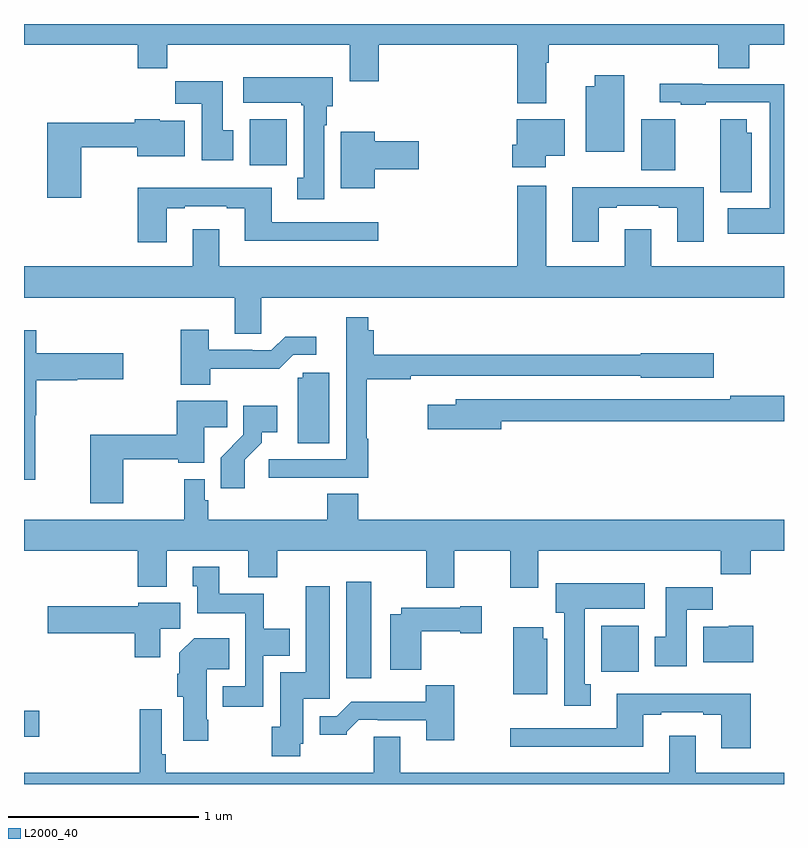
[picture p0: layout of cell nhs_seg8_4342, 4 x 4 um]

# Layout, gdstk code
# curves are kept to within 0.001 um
import gdstk
lib = gdstk.Library(unit=1e-6, precision=1e-09)
def R(c, l, rs):  # rectangles x0, y0, x1, y1
    for r in rs: c.add(gdstk.rectangle(r[:2], r[2:], *l))
def P(c, l, *ps):  # polygons
    for p in ps: c.add(gdstk.Polygon(p, *l))
L2000_40 = (2000, 40)

nhs_seg8_4342 = lib.new_cell('nhs_seg8_4342')
R(nhs_seg8_4342, L2000_40, [(375,1154.15,375.079,1154.285), (376.697,1154.457,376.828,1154.965), (378.038,1154.492,378.235,1154.734), (378.248,1157.129,378.427,1157.398), (376.187,1157.156,376.384,1157.398)])
P(nhs_seg8_4342, L2000_40, [(377.749,1157.696),(377.762,1157.696),(377.762,1157.792),(378.653,1157.792),(378.653,1157.668),(378.818,1157.668),(378.818,1157.792),(379,1157.792),(379,1157.9),(375,1157.9),(375,1157.792),(375.599,1157.792),(375.599,1157.668),(375.755,1157.668),(375.755,1157.792),(376.715,1157.792),(376.715,1157.598),(376.868,1157.598),(376.868,1157.792),(377.597,1157.792),(377.597,1157.483),(377.749,1157.483)],
  [(378.16,1157.629),(378.005,1157.629),(378.005,1157.572),(377.957,1157.572),(377.957,1157.228),(378.16,1157.228)],
  [(376.579,1157.366),(376.594,1157.366),(376.594,1157.466),(376.624,1157.466),(376.624,1157.62),(376.155,1157.62),(376.155,1157.486),(376.459,1157.486),(376.459,1157.473),(376.472,1157.473),(376.472,1157.09),(376.439,1157.09),(376.439,1156.977),(376.579,1156.977)],
  [(376.102,1157.34),(376.045,1157.34),(376.045,1157.599),(375.796,1157.599),(375.796,1157.48),(375.935,1157.48),(375.935,1157.184),(376.102,1157.184)],
  [(379,1157.583),(378.569,1157.583),(378.569,1157.585),(378.345,1157.585),(378.345,1157.487),(378.457,1157.487),(378.457,1157.475),(378.587,1157.475),(378.587,1157.487),(378.926,1157.487),(378.926,1156.93),(378.705,1156.93),(378.705,1156.796),(379,1156.796)],
  [(378.829,1157.328),(378.805,1157.328),(378.805,1157.398),(378.665,1157.398),(378.665,1157.015),(378.829,1157.015)],
  [(375.3,1157.251),(375.596,1157.251),(375.596,1157.204),(375.847,1157.204),(375.847,1157.392),(375.714,1157.392),(375.714,1157.398),(375.584,1157.398),(375.584,1157.38),(375.122,1157.38),(375.122,1156.986),(375.3,1156.986)],
  [(377.747,1157.207),(377.845,1157.207),(377.845,1157.398),(377.594,1157.398),(377.594,1157.265),(377.569,1157.265),(377.569,1157.147),(377.747,1157.147)],
  [(376.846,1157.135),(377.077,1157.135),(377.077,1157.282),(376.846,1157.282),(376.846,1157.332),(376.667,1157.332),(376.667,1157.036),(376.846,1157.036)],
  [(376.248,1156.46),(379,1156.46),(379,1156.624),(378.301,1156.624),(378.301,1156.819),(378.161,1156.819),(378.161,1156.624),(377.749,1156.624),(377.749,1157.05),(377.597,1157.05),(377.597,1156.624),(376.027,1156.624),(376.027,1156.819),(375.887,1156.819),(375.887,1156.624),(375,1156.624),(375,1156.46),(376.109,1156.46),(376.109,1156.27),(376.248,1156.27)],
  [(378.025,1156.932),(378.121,1156.932),(378.121,1156.944),(378.341,1156.944),(378.341,1156.932),(378.437,1156.932),(378.437,1156.755),(378.577,1156.755),(378.577,1157.04),(378.121,1157.04),(378.121,1157.042),(377.885,1157.042),(377.885,1156.755),(378.025,1156.755)],
  [(375.751,1156.929),(375.847,1156.929),(375.847,1156.941),(376.067,1156.941),(376.067,1156.929),(376.163,1156.929),(376.163,1156.76),(376.864,1156.76),(376.864,1156.857),(376.303,1156.857),(376.303,1157.038),(375.599,1157.038),(375.599,1156.752),(375.751,1156.752)],
  [(376.511,1155.513),(376.811,1155.513),(376.811,1155.716),(376.804,1155.716),(376.804,1156.03),(377.036,1156.03),(377.036,1156.05),(378.246,1156.05),(378.246,1156.037),(378.631,1156.037),(378.631,1156.167),(378.246,1156.167),(378.246,1156.159),(376.841,1156.159),(376.841,1156.288),(376.811,1156.288),(376.811,1156.357),(376.695,1156.357),(376.695,1155.609),(376.287,1155.609),(376.287,1155.511),(376.511,1155.511)],
  [(375.981,1156.086),(376.343,1156.085),(376.416,1156.158),(376.537,1156.158),(376.537,1156.255),(376.375,1156.255),(376.302,1156.182),(376.202,1156.182),(376.202,1156.185),(375.973,1156.185),(375.973,1156.291),(375.826,1156.291),(375.826,1156.001),(375.981,1156.001)],
  [(375.06,1155.841),(375.065,1155.841),(375.065,1156.025),(375.279,1156.025),(375.279,1156.03),(375.523,1156.03),(375.523,1156.167),(375.065,1156.167),(375.065,1156.288),(375,1156.288),(375,1155.501),(375.06,1155.501)],
  [(376.606,1156.065),(376.467,1156.065),(376.467,1156.038),(376.442,1156.038),(376.442,1155.694),(376.606,1155.694)],
  [(377.512,1155.808),(379,1155.808),(379,1155.944),(378.718,1155.944),(378.718,1155.924),(377.273,1155.924),(377.273,1155.895),(377.124,1155.895),(377.124,1155.766),(377.512,1155.766)],
  [(375.522,1155.609),(375.812,1155.609),(375.812,1155.59),(375.949,1155.59),(375.949,1155.778),(376.07,1155.778),(376.07,1155.916),(375.805,1155.916),(375.805,1155.737),(375.61,1155.737),(375.61,1155.738),(375.349,1155.738),(375.349,1155.378),(375.522,1155.378)],
  [(376.162,1155.607),(376.252,1155.697),(376.252,1155.752),(376.333,1155.752),(376.333,1155.892),(376.155,1155.892),(376.155,1155.737),(376.036,1155.618),(376.036,1155.456),(376.162,1155.456)],
  [(377.265,1155.128),(377.56,1155.128),(377.56,1154.934),(377.707,1154.934),(377.707,1155.128),(378.667,1155.128),(378.667,1155.004),(378.824,1155.004),(378.824,1155.128),(379,1155.128),(379,1155.292),(376.76,1155.292),(376.76,1155.428),(376.595,1155.428),(376.595,1155.292),(375.971,1155.292),(375.971,1155.393),(375.951,1155.393),(375.951,1155.505),(375.843,1155.505),(375.843,1155.292),(375,1155.292),(375,1155.128),(375.599,1155.128),(375.599,1154.939),(375.751,1154.939),(375.751,1155.128),(376.181,1155.128),(376.181,1154.987),(376.334,1154.987),(376.334,1155.128),(377.117,1155.128),(377.117,1154.934),(377.265,1154.934)],
  [(376.26,1154.576),(376.399,1154.576),(376.399,1154.716),(376.263,1154.716),(376.263,1154.902),(376.027,1154.902),(376.027,1155.043),(375.887,1155.043),(375.887,1154.94),(375.911,1154.94),(375.911,1154.798),(376.164,1154.798),(376.164,1154.415),(376.047,1154.415),(376.047,1154.307),(376.26,1154.307)],
  [(377.983,1154.426),(377.95,1154.426),(377.95,1154.822),(378.268,1154.822),(378.268,1154.956),(377.798,1154.956),(377.798,1154.802),(377.843,1154.802),(377.843,1154.313),(377.983,1154.313)],
  [(376.455,1154.112),(376.471,1154.112),(376.471,1154.349),(376.609,1154.349),(376.609,1154.941),(376.484,1154.941),(376.484,1154.488),(376.349,1154.488),(376.349,1154.202),(376.303,1154.202),(376.303,1154.046),(376.455,1154.046)],
  [(378.487,1154.816),(378.626,1154.816),(378.626,1154.935),(378.377,1154.935),(378.377,1154.676),(378.32,1154.676),(378.32,1154.52),(378.487,1154.52)],
  [(375.718,1154.716),(375.823,1154.716),(375.823,1154.854),(375.6,1154.854),(375.6,1154.835),(375.126,1154.835),(375.126,1154.693),(375.584,1154.693),(375.584,1154.568),(375.718,1154.568)],
  [(377.09,1154.705),(377.297,1154.705),(377.297,1154.693),(377.41,1154.693),(377.41,1154.835),(377.297,1154.835),(377.297,1154.827),(376.986,1154.827),(376.986,1154.794),(376.928,1154.794),(376.928,1154.501),(377.09,1154.501)],
  [(378.839,1154.734),(378.708,1154.734),(378.708,1154.728),(378.575,1154.728),(378.575,1154.54),(378.839,1154.54)],
  [(377.755,1154.664),(377.734,1154.664),(377.734,1154.725),(377.576,1154.725),(377.576,1154.372),(377.755,1154.372)],
  [(375.969,1154.239),(375.961,1154.239),(375.961,1154.504),(376.079,1154.504),(376.079,1154.668),(375.896,1154.668),(375.818,1154.59),(375.818,1154.48),(375.806,1154.48),(375.806,1154.358),(375.839,1154.358),(375.839,1154.127),(375.969,1154.127)],
  [(377.265,1154.419),(377.115,1154.419),(377.115,1154.332),(376.723,1154.332),(376.647,1154.256),(376.556,1154.256),(376.556,1154.159),(376.698,1154.159),(376.698,1154.174),(376.762,1154.238),(376.861,1154.238),(376.861,1154.235),(377.117,1154.235),(377.117,1154.13),(377.265,1154.13)],
  [(378.824,1154.374),(378.119,1154.374),(378.119,1154.193),(377.559,1154.193),(377.559,1154.096),(378.259,1154.096),(378.259,1154.265),(378.355,1154.265),(378.355,1154.277),(378.575,1154.277),(378.575,1154.265),(378.671,1154.265),(378.671,1154.088),(378.824,1154.088)],
  [(379,1153.96),(378.535,1153.96),(378.535,1154.155),(378.395,1154.155),(378.395,1153.96),(376.981,1153.96),(376.981,1154.15),(376.841,1154.15),(376.841,1153.96),(375.746,1153.96),(375.746,1154.056),(375.726,1154.056),(375.726,1154.293),(375.61,1154.293),(375.61,1153.96),(375,1153.96),(375,1153.9),(379,1153.9)])

lib.write_gds('nhs_seg8_4342.gds')
